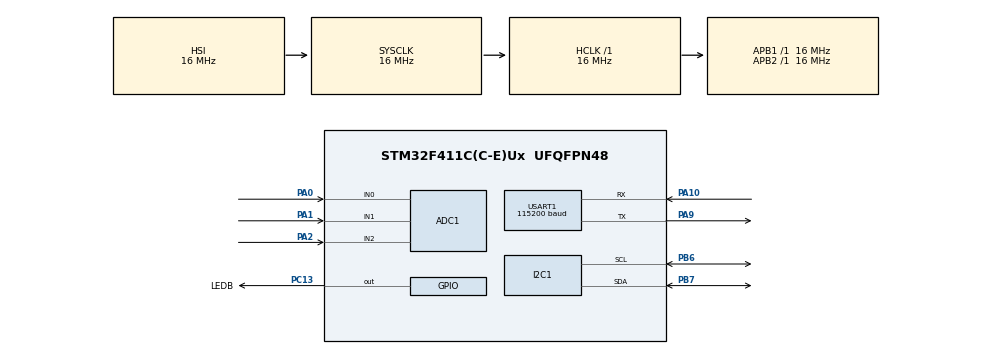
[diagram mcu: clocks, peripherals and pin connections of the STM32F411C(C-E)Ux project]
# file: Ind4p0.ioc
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ADC1.Channel-0\#ChannelRegularConversion=ADC_CHANNEL_0
ADC1.Channel-1\#ChannelRegularConversion=ADC_CHANNEL_1
ADC1.Channel-2\#ChannelRegularConversion=ADC_CHANNEL_2
ADC1.ContinuousConvMode=ENABLE
ADC1.DMAContinuousRequests=ENABLE
ADC1.EOCSelection=ADC_EOC_SINGLE_CONV
ADC1.NbrOfConversion=3
ADC1.NbrOfConversionFlag=1
ADC1.Rank-0\#ChannelRegularConversion=1
ADC1.Rank-1\#ChannelRegularConversion=2
ADC1.Rank-2\#ChannelRegularConversion=3
ADC1.SamplingTime-0\#ChannelRegularConversion=ADC_SAMPLETIME_3CYCLES
ADC1.SamplingTime-1\#ChannelRegularConversion=ADC_SAMPLETIME_3CYCLES
ADC1.SamplingTime-2\#ChannelRegularConversion=ADC_SAMPLETIME_3CYCLES
ADC1.ScanConvMode=ENABLE
ADC1.master=1
Dma.ADC1.0.Direction=DMA_PERIPH_TO_MEMORY
Dma.ADC1.0.FIFOMode=DMA_FIFOMODE_DISABLE
Dma.ADC1.0.Instance=DMA2_Stream0
Dma.ADC1.0.MemDataAlignment=DMA_MDATAALIGN_WORD
Dma.ADC1.0.MemInc=DMA_MINC_ENABLE
Dma.ADC1.0.Mode=DMA_CIRCULAR
Dma.ADC1.0.PeriphDataAlignment=DMA_PDATAALIGN_WORD
Dma.ADC1.0.PeriphInc=DMA_PINC_DISABLE
Dma.ADC1.0.Priority=DMA_PRIORITY_LOW
Dma.Request0=ADC1
Mcu.Family=STM32F4
Mcu.Name=STM32F411C(C-E)Ux
Mcu.Package=UFQFPN48
NVIC.DMA2_Stream0_IRQn=true\:1\:0\:true\:false\:true\:false\:true\:true
NVIC.PriorityGroup=NVIC_PRIORITYGROUP_4
NVIC.TIM1_UP_TIM10_IRQn=true\:1\:0\:true\:false\:true\:true\:true\:true
NVIC.USART1_IRQn=true\:0\:0\:true\:false\:true\:true\:true\:true
PA0-WKUP.Signal=ADCx_IN0
PA1.Signal=ADCx_IN1
PA10.Mode=Asynchronous
PA10.Signal=USART1_RX
PA13.Mode=Serial_Wire
PA13.Signal=SYS_JTMS-SWDIO
PA14.Mode=Serial_Wire
PA14.Signal=SYS_JTCK-SWCLK
PA2.Signal=ADCx_IN2
PA9.Mode=Asynchronous
PA9.Signal=USART1_TX
PB6.Mode=I2C
PB6.Signal=I2C1_SCL
PB7.Mode=I2C
PB7.Signal=I2C1_SDA
PC13-ANTI_TAMP.GPIO_Label=LEDB
PC13-ANTI_TAMP.Signal=GPIO_Output
PC14-OSC32_IN.Mode=LSE-External-Oscillator
PC14-OSC32_IN.Signal=RCC_OSC32_IN
PC15-OSC32_OUT.Mode=LSE-External-Oscillator
PC15-OSC32_OUT.Signal=RCC_OSC32_OUT
PH0\ -\ OSC_IN.Mode=HSE-External-Oscillator
PH0\ -\ OSC_IN.Signal=RCC_OSC_IN
PH1\ -\ OSC_OUT.Mode=HSE-External-Oscillator
PH1\ -\ OSC_OUT.Signal=RCC_OSC_OUT
ProjectManager.HeapSize=0x200
ProjectManager.StackSize=0x400
ProjectManager.TargetToolchain=STM32CubeIDE
RCC.AHBFreq_Value=16000000
RCC.APB1Freq_Value=16000000
RCC.APB2Freq_Value=16000000
RCC.CortexFreq_Value=16000000
RCC.HSE_VALUE=25000000
RCC.HSI_VALUE=16000000
RCC.SYSCLKFreq_VALUE=16000000
RCC.VCOOutputFreq_Value=192000000
SH.ADCx_IN0.0=ADC1_IN0,IN0
SH.ADCx_IN1.0=ADC1_IN1,IN1
SH.ADCx_IN2.0=ADC1_IN2,IN2
USART1.BaudRate=115200
USART1.VirtualMode=VM_ASYNC
VP_TIM10_VS_ClockSourceINT.Mode=Enable_Timer
board=custom

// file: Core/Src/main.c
/* USER CODE BEGIN Header */
/**
 ******************************************************************************
 * @file           : main.c
 * @brief          : Main program body
 ******************************************************************************
 * @attention
 *
 * Copyright (c) 2024 STMicroelectronics.
 * All rights reserved.
 *
 * This software is licensed under terms that can be found in the LICENSE file
 * in the root directory of this software component.
 * If no LICENSE file comes with this software, it is provided AS-IS.
 *
 ******************************************************************************
 */
/* USER CODE END Header */
#include "main.h"

/* USER CODE BEGIN Includes */
#include "string.h"
#include "stdio.h"
#include "stdlib.h"
#include "math.h"
#include "arm_math.h"
#include "stdbool.h"
#include "protocollo.h"
/* USER CODE END Includes */

/* USER CODE BEGIN PTD */

char FW_VERSION[] = "1.1.0";

static bool crc_tab16_init = false;
static uint16_t crc_tab16[256];
#define		CRC_START_16		0x0000
#define		CRC_POLY_16		0xA001

void send_config();
void receive_config(protocollo_uart pkt);
//void send_bump_alarm(uint8_t output_X,uint8_t output_Y,uint8_t output_Z);
void send_bump_alarm();
void send_hidden_bump_alarm();
void send_shakes_count(uint16_t shakesCount,uint16_t XshakesCount,uint16_t YshakesCount,uint16_t ZshakesCount);
void send_raw_data();
void send_fw_version();
//void send_alarm_disabled();
void send_ack();
void send_nack();
uint16_t crc_16( const unsigned char *input_str, size_t num_bytes );

void send_fft_sample();
void send_sample();
void build_send_packet(uart_command cmd);
/* USER CODE END PTD */

ADC_HandleTypeDef hadc1;
DMA_HandleTypeDef hdma_adc1;

I2C_HandleTypeDef hi2c1;

TIM_HandleTypeDef htim10;

UART_HandleTypeDef huart1;

/* USER CODE BEGIN PV */
#ifdef __GNUC__
#define PUTCHAR_PROTOTYPE int __io_putchar(int ch)
#else
#define PUTCHAR_PROTOTYPE int fputc(int ch, FILE *f)
#endif

PUTCHAR_PROTOTYPE
{
	HAL_UART_Transmit(&huart1, (uint8_t *)&ch, 1, HAL_MAX_DELAY);
	return ch;
}
/* USER CODE END PV */

void SystemClock_Config(void);
static void MX_GPIO_Init(void);
static void MX_DMA_Init(void);
static void MX_ADC1_Init(void);
static void MX_I2C1_Init(void);
static void MX_USART1_UART_Init(void);
static void MX_TIM10_Init(void);

/* USER CODE BEGIN 0 */
HAL_StatusTypeDef ADC_Status;

/***********************************************
 * buffer dei parametri di configurazione
 **********************************************/
uint16_t sensor_configuration[7]={0};
/**********************************************/

/**************************************************
 * Soglie, shake count e sampling time di default
 **************************************************/
uint16_t bumpsThreshold = 200;
uint16_t shakesThreshold = 10;
uint16_t shakesSamplingTime = 2; // espresso in secondi
uint16_t shakesCount = 0;
uint16_t hiddenBumpsThreshold = 500;
/**************************************************/

/******************************************
 * Contatori di vibrazioni lungo gli assi
 ******************************************/
uint8_t xShakesCount = 0;
uint8_t yShakesCount = 0;
uint8_t zShakesCount = 0;
/******************************************/

/******************************************
 * Raw Data
 ******************************************/
float32_t output_X=0;
float32_t output_Y=0;
float32_t output_Z=0;

float32_t output_X_bump=0;
float32_t output_Y_bump=0;
float32_t output_Z_bump=0;
/******************************************/

/******************************************
 * Flag dei bump
 ******************************************/
bool BumpFlag=false;
bool HiddenBumpFlag=false;
/******************************************/

/******************************************
 * Valori medi per gli assi X, Y e Z
 * usati nel calcolo delle vibrazioni
 ******************************************/
float32_t avgOutput_X = 0;
float32_t avgOutput_Y = 0;
float32_t avgOutput_Z = 0;

float32_t avgOutput_X_last = 0;
float32_t avgOutput_Y_last = 0;
float32_t avgOutput_Z_last = 0;

float32_t output_X_last=0;
float32_t output_Y_last=0;
float32_t output_Z_last=0;

float32_t DeltaOutput_X=0;
float32_t DeltaOutput_Y=0;
float32_t DeltaOutput_Z=0;
/******************************************/

/******************************************
 * UART verso PC
 ******************************************/
#define MAX_BUFFER_LENGHT 256
uint8_t UART1_rx;
uint8_t UART1_rxBuffer[MAX_BUFFER_LENGHT];
uint8_t UART1_txBuffer[MAX_BUFFER_LENGHT];
uint8_t rxbuffer_index = 0;

/******************************************/

uint32_t value[3];
//*****************************FIR ***************************//

#define SNR_THRESHOLD_F32    140.0f
#define BLOCK_SIZE            32
#define NUM_TAPS              96

arm_fir_instance_f32 S_FIR;
float32_t testInput_f32_1kHz_15kHz[SAMPLES];
//static float32_t firStateF32[SAMPLES + NUM_TAPS - 1];

const float32_t firCoeffs32[NUM_TAPS] = {
		-0.0045644380812448395,
		-0.0004239214773665623,
		-0.0003992160094902055,
		-0.0003410784893278679,
		-0.000246559170922285,
		-0.00011254431170462079,
		0.00006433750801042219,
		0.0002870933492719705,
		0.0005587009072068039,
		0.0008818359747837215,
		0.0012587683624311436,
		0.0016910582068537408,
		0.0021856908690502577,
		0.002726710900242062,
		0.0033400842043236102,
		0.0040111517348650795,
		0.004739077342511737,
		0.005524253099514465,
		0.0063660475475944564,
		0.007263122811066336,
		0.008212361291143213,
		0.009210018111155885,
		0.010251426837018239,
		0.011331469979433535,
		0.01244362364387908,
		0.013584873647048157,
		0.01474370531018102,
		0.015917964027590856,
		0.01709913746351596,
		0.01827867257835206,
		0.01944880098525925,
		0.020601194890077695,
		0.02172846305781673,
		0.022822065011098805,
		0.0238738289199096,
		0.02487547673817073,
		0.025819341620558257,
		0.026697029918866366,
		0.02750356254696736,
		0.028230666791627817,
		0.028873750993741547,
		0.029427571925871056,
		0.02988701980332222,
		0.030248790890860813,
		0.030508789150617766,
		0.030665772386255268,
		0.03071819701905401,
		0.030665772386255268,
		0.030508789150617766,
		0.030248790890860813,
		0.02988701980332222,
		0.029427571925871056,
		0.028873750993741547,
		0.028230666791627817,
		0.02750356254696736,
		0.026697029918866366,
		0.025819341620558257,
		0.02487547673817073,
		0.0238738289199096,
		0.022822065011098805,
		0.02172846305781673,
		0.020601194890077695,
		0.01944880098525925,
		0.01827867257835206,
		0.01709913746351596,
		0.015917964027590856,
		0.01474370531018102,
		0.013584873647048157,
		0.01244362364387908,
		0.011331469979433535,
		0.010251426837018239,
		0.009210018111155885,
		0.008212361291143213,
		0.007263122811066336,
		0.0063660475475944564,
		0.005524253099514465,
		0.004739077342511737,
		0.0040111517348650795,
		0.0033400842043236102,
		0.002726710900242062,
		0.0021856908690502577,
		0.0016910582068537408,
		0.0012587683624311436,
		0.0008818359747837215,
		0.0005587009072068039,
		0.0002870933492719705,
		0.00006433750801042219,
		-0.00011254431170462079,
		-0.000246559170922285,
		-0.0003410784893278679,
		-0.0003992160094902055,
		-0.0004239214773665623,
		-0.0045644380812448395

};

#define NUM_TAPS_HP              87
static float32_t firStateF32_HP[SAMPLES + NUM_TAPS_HP - 1];
const float32_t firCoeffs32_high_pass[NUM_TAPS_HP] = {
		0.00015046336434925082,
		-0.0003132108493542814,
		0.0005455831397464856,
		-0.0007655671960985814,
		0.0008479244457581014,
		-0.0006137937161025474,
		-0.00014459031918041517,
		0.001618510067585061,
		-0.003921817181404502,
		0.007026723577160095,
		-0.010714381679213151,
		0.014558817550571496,
		-0.017959185429479742,
		0.020226493978637464,
		-0.020716950964363334,
		0.018989175888080526,
		-0.014951023072293205,
		0.008956333659119901,
		-0.001815853588989312,
		-0.005298400010386114,
		0.01105255933477362,
		-0.014224672422497756,
		0.013999200142186967,
		-0.010213709039717932,
		0.003489753102984941,
		0.00480206065485691,
		-0.012759954435784393,
		0.018327027547382888,
		-0.019758735816211095,
		0.01608405227976113,
		-0.007451684217961991,
		-0.004733394280315384,
		0.01793991374342082,
		-0.02890817129034569,
		0.03425596442522116,
		-0.031179921743829084,
		0.018108140425716915,
		0.004840797750476119,
		-0.03570524556862057,
		0.07088775590886412,
		-0.10570111679267988,
		0.13515850329937282,
		-0.15485721750818826,
		0.1617808126828929,
		-0.15485721750818826,
		0.13515850329937282,
		-0.10570111679267988,
		0.07088775590886412,
		-0.03570524556862057,
		0.004840797750476119,
		0.018108140425716915,
		-0.031179921743829084,
		0.03425596442522116,
		-0.02890817129034569,
		0.01793991374342082,
		-0.004733394280315384,
		-0.007451684217961991,
		0.01608405227976113,
		-0.019758735816211095,
		0.018327027547382888,
		-0.012759954435784393,
		0.00480206065485691,
		0.003489753102984941,
		-0.010213709039717932,
		0.013999200142186967,
		-0.014224672422497756,
		0.01105255933477362,
		-0.005298400010386114,
		-0.001815853588989312,
		0.008956333659119901,
		-0.014951023072293205,
		0.018989175888080526,
		-0.020716950964363334,
		0.020226493978637464,
		-0.017959185429479742,
		0.014558817550571496,
		-0.010714381679213151,
		0.007026723577160095,
		-0.003921817181404502,
		0.001618510067585061,
		-0.00014459031918041517,
		-0.0006137937161025474,
		0.0008479244457581014,
		-0.0007655671960985814,
		0.0005455831397464856,
		-0.0003132108493542814,
		0.00015046336434925082

};

//*****************************FFT ***************************//

arm_cfft_radix4_instance_f32 S;	/* ARM CFFT module */
float32_t maxValue;				/* Max FFT value is stored here */
uint32_t maxIndex;				/* Index in Output array where max value is */
int current_index_aqsample = 0;
float32_t Input_X[SAMPLES];
float32_t Input_Y[SAMPLES];
float32_t Input_Z[SAMPLES];
//float32_t fftOutput[FFT_SIZE];

//***************************************************************//

uint16_t ADC_RES = 0;
HAL_StatusTypeDef err_tx;

typedef struct adc_channel_struct
{
	uint32_t current_index;
	uint16_t ADC_X;
	uint16_t ADC_Y;
	uint16_t ADC_Z;
}adc_channel_struct;

adc_channel_struct adc_channel_instance =
{
		.current_index = 0,
		.ADC_X = 0,
		.ADC_Y = 0,
		.ADC_Z = 0,
};

void select_adc_channel(int channel)
{
	ADC_ChannelConfTypeDef sConfig = {0};
	sConfig.SamplingTime = ADC_SAMPLETIME_3CYCLES;
	switch (channel)
	{
	case 0:
		sConfig.Channel = ADC_CHANNEL_0;
		sConfig.Rank = 1;

		if (HAL_ADC_ConfigChannel(&hadc1, &sConfig) != HAL_OK)
		{
			Error_Handler();
		}
		break;

	case 1:
		sConfig.Channel = ADC_CHANNEL_1;
		sConfig.Rank = 1;

		if (HAL_ADC_ConfigChannel(&hadc1, &sConfig) != HAL_OK)
		{
			Error_Handler();
		}
		break;

	case 2:
		/** Configure for the selected ADC regular channel its corresponding rank in the sequencer and its sample time.
		 */
		sConfig.Channel = ADC_CHANNEL_2;
		sConfig.Rank = 1;
		if (HAL_ADC_ConfigChannel(&hadc1, &sConfig) != HAL_OK)
		{
			Error_Handler();
		}
		break;
		/** Configure for the selected ADC regular channel its corresponding rank in the sequencer and its sample time.
		 */
	case 3:
		sConfig.Channel = ADC_CHANNEL_3;
		sConfig.Rank = 1;
		if (HAL_ADC_ConfigChannel(&hadc1, &sConfig) != HAL_OK)
		{
			Error_Handler();
		}
		break;
		/** Configure for the selected ADC regular channel its corresponding rank in the sequencer and its sample time.
		 */
	case 4:
		sConfig.Channel = ADC_CHANNEL_4;
		sConfig.Rank = 1;
		if (HAL_ADC_ConfigChannel(&hadc1, &sConfig) != HAL_OK)
		{
			Error_Handler();
		}
		break;
		/** Configure for the selected ADC regular channel its corresponding rank in the sequencer and its sample time.
		 */
	case 5:
		sConfig.Channel = ADC_CHANNEL_5;
		sConfig.Rank = 1;
		if (HAL_ADC_ConfigChannel(&hadc1, &sConfig) != HAL_OK)
		{
			Error_Handler();
		}
		break;
		/** Configure for the selected ADC regular channel its corresponding rank in the sequencer and its sample time.
		 */
	case 6:
		sConfig.Channel = ADC_CHANNEL_6;
		sConfig.Rank = 1;
		if (HAL_ADC_ConfigChannel(&hadc1, &sConfig) != HAL_OK)
		{
			Error_Handler();
		}
		break;
		/** Configure for the selected ADC regular channel its corresponding rank in the sequencer and its sample time.
		 */
	case 7:
		sConfig.Channel = ADC_CHANNEL_7;
		sConfig.Rank = 1;
		if (HAL_ADC_ConfigChannel(&hadc1, &sConfig) != HAL_OK)
		{
			Error_Handler();
		}
		break;
		/** Configure for the selected ADC regular channel its corresponding rank in the sequencer and its sample time.
		 */
	case 8:
		sConfig.Channel = ADC_CHANNEL_8;
		sConfig.Rank = 1;
		if (HAL_ADC_ConfigChannel(&hadc1, &sConfig) != HAL_OK)
		{
			Error_Handler();
		}
		break;
		/** Configure for the selected ADC regular channel its corresponding rank in the sequencer and its sample time.
		 */
	case 9:
		sConfig.Channel = ADC_CHANNEL_9;
		sConfig.Rank = 9;
		if (HAL_ADC_ConfigChannel(&hadc1, &sConfig) != HAL_OK)
		{
			Error_Handler();
		}
		break;
		/** Configure for the selected ADC regular channel its corresponding rank in the sequencer and its sample time.
		 */
	case 10:
		sConfig.Channel = ADC_CHANNEL_10;
		sConfig.Rank = 1;
		if (HAL_ADC_ConfigChannel(&hadc1, &sConfig) != HAL_OK)
		{
			Error_Handler();
		}
		break;
		/** Configure for the selected ADC regular channel its corresponding rank in the sequencer and its sample time.
		 */
	case 11:
		sConfig.Channel = ADC_CHANNEL_11;
		sConfig.Rank = 1;
		if (HAL_ADC_ConfigChannel(&hadc1, &sConfig) != HAL_OK)
		{
			Error_Handler();
		}
		break;
		/** Configure for the selected ADC regular channel its corresponding rank in the sequencer and its sample time.
		 */
	case 12:
		sConfig.Channel = ADC_CHANNEL_12;
		sConfig.Rank = 1;
		if (HAL_ADC_ConfigChannel(&hadc1, &sConfig) != HAL_OK)
		{
			Error_Handler();
		}
		break;
		/** Configure for the selected ADC regular channel its corresponding rank in the sequencer and its sample time.
		 */
	case 13:
		sConfig.Channel = ADC_CHANNEL_13;
		sConfig.Rank = 1;
		if (HAL_ADC_ConfigChannel(&hadc1, &sConfig) != HAL_OK)
		{
			Error_Handler();
		}
		break;
		/** Configure for the selected ADC regular channel its corresponding rank in the sequencer and its sample time.
		 */
	case 14:
		sConfig.Channel = ADC_CHANNEL_14;
		sConfig.Rank = 1;
		if (HAL_ADC_ConfigChannel(&hadc1, &sConfig) != HAL_OK)
		{
			Error_Handler();
		}
		break;
		/** Configure for the selected ADC regular channel its corresponding rank in the sequencer and its sample time.
		 */
	case 15:
		sConfig.Channel = ADC_CHANNEL_15;
		sConfig.Rank = 1;
		if (HAL_ADC_ConfigChannel(&hadc1, &sConfig) != HAL_OK)
		{
			Error_Handler();
		}
		break;

	default:
		break;
	}
}
/* USER CODE END 0 */

int main(void)
{

	/* MCU Configuration--------------------------------------------------------*/

	/* Reset of all peripherals, Initializes the Flash interface and the Systick. */
	HAL_Init();

	/* Configure the system clock */
	SystemClock_Config();

	/* Initialize all configured peripherals */
	MX_GPIO_Init();
	MX_DMA_Init();
	MX_ADC1_Init();
	MX_I2C1_Init();
	MX_USART1_UART_Init();
	MX_TIM10_Init();
	/* USER CODE BEGIN 2 */
	//	arm_fir_init_f32(&S_FIR, NUM_TAPS, (float32_t *)&firCoeffs32[0], &firStateF32[0], SAMPLES);
	arm_fir_init_f32(&S_FIR, NUM_TAPS_HP, (float32_t *)&firCoeffs32_high_pass[0], &firStateF32_HP[0], SAMPLES);

	/********************************************
	 * attiva l'UART in interrupt mode
	 ********************************************/
	HAL_UART_Receive_IT(&huart1,&UART1_rx, 1);

	//************************************************************************************************//
	HAL_TIM_Base_Start_IT(&htim10);
	__HAL_TIM_SET_PRESCALER(&htim10, 1);
	//
	//	/********************************************/
	//	//printf("HELLO WORLD\r\n");
	//
	//	/*******************************************************
	//	 *Calibrate The ADC On Power-Up For Better Accuracy
	//	 *******************************************************/
	//	//HAL_ADCEx_Calibration_Start(&hadc1);
	//	/*******************************************************/
	//
	//
	HAL_ADC_Start_DMA(&hadc1, (uint32_t*)value, 3);

	//*****************************************************************************************************//

	//	char tt[] = "HELLO";
	/* USER CODE END 2 */

	/* Infinite loop */
	/* USER CODE BEGIN WHILE */
	while (1)
	{

		//		HAL_UART_Transmit(&huart1, tt, sizeof(tt), 100);

		HAL_Delay(1000);
		/* USER CODE END WHILE */

	}
}

void SystemClock_Config(void)
{
	RCC_OscInitTypeDef RCC_OscInitStruct = {0};
	RCC_ClkInitTypeDef RCC_ClkInitStruct = {0};

	/** Configure the main internal regulator output voltage
	 */
	__HAL_RCC_PWR_CLK_ENABLE();
	__HAL_PWR_VOLTAGESCALING_CONFIG(PWR_REGULATOR_VOLTAGE_SCALE1);

	/** Initializes the RCC Oscillators according to the specified parameters
	 * in the RCC_OscInitTypeDef structure.
	 */
	RCC_OscInitStruct.OscillatorType = RCC_OSCILLATORTYPE_HSI;
	RCC_OscInitStruct.HSIState = RCC_HSI_ON;
	RCC_OscInitStruct.HSICalibrationValue = RCC_HSICALIBRATION_DEFAULT;
	RCC_OscInitStruct.PLL.PLLState = RCC_PLL_NONE;
	if (HAL_RCC_OscConfig(&RCC_OscInitStruct) != HAL_OK)
	{
		Error_Handler();
	}

	/** Initializes the CPU, AHB and APB buses clocks
	 */
	RCC_ClkInitStruct.ClockType = RCC_CLOCKTYPE_HCLK|RCC_CLOCKTYPE_SYSCLK
			|RCC_CLOCKTYPE_PCLK1|RCC_CLOCKTYPE_PCLK2;
	RCC_ClkInitStruct.SYSCLKSource = RCC_SYSCLKSOURCE_HSI;
	RCC_ClkInitStruct.AHBCLKDivider = RCC_SYSCLK_DIV1;
	RCC_ClkInitStruct.APB1CLKDivider = RCC_HCLK_DIV1;
	RCC_ClkInitStruct.APB2CLKDivider = RCC_HCLK_DIV1;

	if (HAL_RCC_ClockConfig(&RCC_ClkInitStruct, FLASH_LATENCY_0) != HAL_OK)
	{
		Error_Handler();
	}
}

static void MX_ADC1_Init(void)
{

	ADC_ChannelConfTypeDef sConfig = {0};

	/** Configure the global features of the ADC (Clock, Resolution, Data Alignment and number of conversion)
	 */
	hadc1.Instance = ADC1;
	hadc1.Init.ClockPrescaler = ADC_CLOCK_SYNC_PCLK_DIV2;
	hadc1.Init.Resolution = ADC_RESOLUTION_12B;
	hadc1.Init.ScanConvMode = ENABLE;
	hadc1.Init.ContinuousConvMode = ENABLE;
	hadc1.Init.DiscontinuousConvMode = DISABLE;
	hadc1.Init.ExternalTrigConvEdge = ADC_EXTERNALTRIGCONVEDGE_NONE;
	hadc1.Init.ExternalTrigConv = ADC_SOFTWARE_START;
	hadc1.Init.DataAlign = ADC_DATAALIGN_RIGHT;
	hadc1.Init.NbrOfConversion = 3;
	hadc1.Init.DMAContinuousRequests = ENABLE;
	hadc1.Init.EOCSelection = ADC_EOC_SINGLE_CONV;
	if (HAL_ADC_Init(&hadc1) != HAL_OK)
	{
		Error_Handler();
	}

	/** Configure for the selected ADC regular channel its corresponding rank in the sequencer and its sample time.
	 */
	sConfig.Channel = ADC_CHANNEL_0;
	sConfig.Rank = 1;
	sConfig.SamplingTime = ADC_SAMPLETIME_3CYCLES;
	if (HAL_ADC_ConfigChannel(&hadc1, &sConfig) != HAL_OK)
	{
		Error_Handler();
	}

	/** Configure for the selected ADC regular channel its corresponding rank in the sequencer and its sample time.
	 */
	sConfig.Channel = ADC_CHANNEL_1;
	sConfig.Rank = 2;
	if (HAL_ADC_ConfigChannel(&hadc1, &sConfig) != HAL_OK)
	{
		Error_Handler();
	}

	/** Configure for the selected ADC regular channel its corresponding rank in the sequencer and its sample time.
	 */
	sConfig.Channel = ADC_CHANNEL_2;
	sConfig.Rank = 3;
	if (HAL_ADC_ConfigChannel(&hadc1, &sConfig) != HAL_OK)
	{
		Error_Handler();
	}

}

static void MX_I2C1_Init(void)
{

	hi2c1.Instance = I2C1;
	hi2c1.Init.ClockSpeed = 100000;
	hi2c1.Init.DutyCycle = I2C_DUTYCYCLE_2;
	hi2c1.Init.OwnAddress1 = 0;
	hi2c1.Init.AddressingMode = I2C_ADDRESSINGMODE_7BIT;
	hi2c1.Init.DualAddressMode = I2C_DUALADDRESS_DISABLE;
	hi2c1.Init.OwnAddress2 = 0;
	hi2c1.Init.GeneralCallMode = I2C_GENERALCALL_DISABLE;
	hi2c1.Init.NoStretchMode = I2C_NOSTRETCH_DISABLE;
	if (HAL_I2C_Init(&hi2c1) != HAL_OK)
	{
		Error_Handler();
	}

}

static void MX_TIM10_Init(void)
{

	htim10.Instance = TIM10;
	htim10.Init.Prescaler = 0;
	htim10.Init.CounterMode = TIM_COUNTERMODE_UP;
	htim10.Init.Period = 65535;
	htim10.Init.ClockDivision = TIM_CLOCKDIVISION_DIV1;
	htim10.Init.AutoReloadPreload = TIM_AUTORELOAD_PRELOAD_DISABLE;
	if (HAL_TIM_Base_Init(&htim10) != HAL_OK)
	{
		Error_Handler();
	}

}

static void MX_USART1_UART_Init(void)
{

	huart1.Instance = USART1;
	huart1.Init.BaudRate = 115200;
	huart1.Init.WordLength = UART_WORDLENGTH_8B;
	huart1.Init.StopBits = UART_STOPBITS_1;
	huart1.Init.Parity = UART_PARITY_NONE;
	huart1.Init.Mode = UART_MODE_TX_RX;
	huart1.Init.HwFlowCtl = UART_HWCONTROL_NONE;
	huart1.Init.OverSampling = UART_OVERSAMPLING_16;
	if (HAL_UART_Init(&huart1) != HAL_OK)
	{
		Error_Handler();
	}

}

static void MX_DMA_Init(void)
{

	/* DMA controller clock enable */
	__HAL_RCC_DMA2_CLK_ENABLE();

	/* DMA interrupt init */
	/* DMA2_Stream0_IRQn interrupt configuration */
	HAL_NVIC_SetPriority(DMA2_Stream0_IRQn, 1, 0);
	HAL_NVIC_EnableIRQ(DMA2_Stream0_IRQn);

}

static void MX_GPIO_Init(void)
{
	GPIO_InitTypeDef GPIO_InitStruct = {0};

	/* GPIO Ports Clock Enable */
	__HAL_RCC_GPIOC_CLK_ENABLE();
	__HAL_RCC_GPIOH_CLK_ENABLE();
	__HAL_RCC_GPIOA_CLK_ENABLE();
	__HAL_RCC_GPIOB_CLK_ENABLE();

	/*Configure GPIO pin Output Level */
	HAL_GPIO_WritePin(LEDB_GPIO_Port, LEDB_Pin, GPIO_PIN_RESET);

	/*Configure GPIO pin : LEDB_Pin */
	GPIO_InitStruct.Pin = LEDB_Pin;
	GPIO_InitStruct.Mode = GPIO_MODE_OUTPUT_PP;
	GPIO_InitStruct.Pull = GPIO_NOPULL;
	GPIO_InitStruct.Speed = GPIO_SPEED_FREQ_LOW;
	HAL_GPIO_Init(LEDB_GPIO_Port, &GPIO_InitStruct);

}

/* USER CODE BEGIN 4 */

// Called when first half of buffer is filled
void HAL_ADC_ConvHalfCpltCallback(ADC_HandleTypeDef* hadc) {

}

// Called when buffer is completely filled
void HAL_ADC_ConvCpltCallback(ADC_HandleTypeDef* hadc) {

	adc_channel_instance.ADC_X = value[0];
	adc_channel_instance.ADC_Y = value[1];
	adc_channel_instance.ADC_Z = value[2];

	Input_X[current_index_aqsample] = adc_channel_instance.ADC_X;
	Input_Y[current_index_aqsample] = adc_channel_instance.ADC_Y;
	Input_Z[current_index_aqsample] = adc_channel_instance.ADC_Z;

	/**************************************************************************************************************************************
	 * ELABORAZIONE
	 **************************************************************************************************************************************/
	arm_fir_f32(&S_FIR,&Input_X[current_index_aqsample], &output_X, 1);
	arm_fir_f32(&S_FIR,&Input_Y[current_index_aqsample], &output_Y, 1);
	arm_fir_f32(&S_FIR,&Input_Z[current_index_aqsample], &output_Z, 1);

	output_X  = output_X * 10;
	output_Y  = output_Y * 10;
	output_Z  = output_Z * 10;

	if(output_X < 0)
		output_X = output_X * -1;
	if(output_Y < 0)
		output_Y = output_Y * -1;
	if(output_Z < 0)
		output_Z = output_Z * -1;

	//	output_X = abs(output_X);
	//	output_Y = abs(output_Y);
	//	output_Z = abs(output_Z);

	/*******************************************************/
	//	DeltaOutput_X=(output_X-output_X_last);
	//	DeltaOutput_X=(output_Y-output_Y_last);
	//	DeltaOutput_X=(output_Z-output_Z_last);
	//	if(DeltaOutput_X < 0)
	//		DeltaOutput_X = DeltaOutput_X * -1;
	//	if(DeltaOutput_Y < 0)
	//		DeltaOutput_Y = DeltaOutput_Y * -1;
	//	if(DeltaOutput_Z < 0)
	//		DeltaOutput_Z = DeltaOutput_Z * -1;
	//
	//	output_X_last=output_X;
	//	output_Y_last=output_Y;
	//	output_Z_last=output_Z;
	//
	//	int deltaValue = 10;
	//	int mulFactor = 10;
	//	if(DeltaOutput_X<deltaValue)
	//		output_X = 0; //output_X * mulFactor;
	//	if(DeltaOutput_Y<deltaValue)
	//			output_Y = 0; //output_Y * mulFactor;
	//	if(DeltaOutput_X<deltaValue)
	//			output_Z = 0; //output_Z * mulFactor;
	//
	//	if(output_X < 0)
	//		output_X = output_X * -1;
	//	if(output_Y < 0)
	//		output_Y = output_Y * -1;
	//	if(output_Z < 0)
	//		output_Z = output_Z * -1;
	/*******************************************************/

	/*********************************************************************************************************
	 * Se uno dei tre segnali supera la soglia degli urti viene messo a true il flag del bump
	 *********************************************************************************************************/
	if(BumpFlag==false && ((output_X>bumpsThreshold)||(output_Y>bumpsThreshold)||(output_Z>bumpsThreshold)) ){
		//send_bump_alarm();
		output_X_bump = output_X;
		output_Y_bump = output_Y;
		output_Z_bump = output_Z;
		BumpFlag=true;
	}
	/************************************************************************************************/

	/*********************************************************************************************************
	 * Se uno dei tre segnali supera la soglia nascosta degli urti viene messo a true il flag dell'hidden bump
	 *********************************************************************************************************/
	if(HiddenBumpFlag==false &&((output_X>hiddenBumpsThreshold)||(output_Y>hiddenBumpsThreshold)||(output_Z>hiddenBumpsThreshold)) ){
		//send_hidden_bump_alarm();
		output_X_bump = output_X;
		output_Y_bump = output_Y;
		output_Z_bump = output_Z;
		HiddenBumpFlag=true;
	}
	/*********************************************************************************************************/

	/******************************************************
	 * Se output_X supera la soglia delle vibrazioni
	 * incrementa il contatore di vibrazioni xShakesCount
	 ******************************************************/
	if(output_X>shakesThreshold){
		xShakesCount++;
	}
	/******************************************************/
	/******************************************************
	 * Se output_Y supera la soglia delle vibrazioni
	 * incrementa il contatore di vibrazioni yShakesCount
	 ******************************************************/
	if(output_Y>shakesThreshold){
		yShakesCount++;
	}
	/******************************************************/
	/******************************************************
	 * Se output_Z supera la soglia delle vibrazioni
	 * incrementa il contatore di vibrazioni zShakesCount
	 ******************************************************/
	if(output_Z>shakesThreshold){
		zShakesCount++;
	}
	/******************************************************/

	/**************************************************************************************************************************************/

	current_index_aqsample = (current_index_aqsample + 1) % SAMPLES;

	HAL_GPIO_TogglePin(LEDB_GPIO_Port, LEDB_Pin);

}

void HAL_TIM_PeriodElapsedCallback(TIM_HandleTypeDef *htim)
{
	/* USER CODE BEGIN Callback 0 */
	if (htim->Instance == TIM10) {

		/****************************************************************************************************************
		 * printf per SERIAL PLOT
		 ****************************************************************************************************************/
		//printf("%f %f %f\r\n",output_X,output_Y,output_Z);
		//		printf("%f %f %f %f %f %f\r\n",Input_X[current_index_aqsample],Input_Y[current_index_aqsample],Input_Z[current_index_aqsample],output_X,output_Y,output_Z);
		/****************************************************************************************************************/
		//printf("%d %d %d\r\n",adc_channel_instance.ADC_X,adc_channel_instance.ADC_Y,adc_channel_instance.ADC_Z);
		///////////////////////////////////////////////////////////////////////////////////////////////////////////////////////////////////////////////////////////////////////
		//if((output_X>bumpsThreshold)||(output_Y>bumpsThreshold)||(output_Z>bumpsThreshold)){
		if(BumpFlag==true){
			//send_bump_alarm((uint8_t)output_X, (uint8_t)output_Y, (uint8_t)output_Z);
			send_bump_alarm();
			BumpFlag=false;
		}
		/************************************************************************************************/

		/*********************************************************************************************************
		 * Se uno dei tre segnali supera la soglia nascosta degli urti viene trasmesso al SW l'allarme di urto
		 *********************************************************************************************************/
		//if((output_X>hiddenBumpsThreshold)||(output_Y>hiddenBumpsThreshold)||(output_Z>hiddenBumpsThreshold)){
		if(HiddenBumpFlag==true){
			send_hidden_bump_alarm();
			HiddenBumpFlag=false;
		}
		/*********************************************************************************************************/

		//		/******************************************************
		//		 * Se output_X supera la soglia delle vibrazioni
		//		 * incrementa il contatore di vibrazioni xShakesCount
		//		 ******************************************************/
		//		if(output_X>shakesThreshold){
		//			xShakesCount++;
		//		}
		//		/******************************************************/
		//		/******************************************************
		//		 * Se output_Y supera la soglia delle vibrazioni
		//		 * incrementa il contatore di vibrazioni yShakesCount
		//		 ******************************************************/
		//		if(output_Y>shakesThreshold){
		//			yShakesCount++;
		//		}
		//		/******************************************************/
		//		/******************************************************
		//		 * Se output_Z supera la soglia delle vibrazioni
		//		 * incrementa il contatore di vibrazioni zShakesCount
		//		 ******************************************************/
		//		if(output_Z>shakesThreshold){
		//			zShakesCount++;
		//		}
		//		/******************************************************/
		////////////////////////////////////////////////////////////////////////////////////////////////////////////////////////////////////////////////////////////////////

		//		avgOutput_X_last = avgOutput_X;
		//		avgOutput_Y_last = avgOutput_Y;
		//		avgOutput_Z_last = avgOutput_Z;
		//
		//		/**************************************
		//		 * Calcolo valori medi su X, Y e Z
		//		 **************************************/
		//		avgOutput_X = avgOutput_X + output_X - avgOutput_X_last;
		//		avgOutput_Y = avgOutput_Y + output_Y - avgOutput_Y_last;
		//		avgOutput_Z = avgOutput_Z + output_Z - avgOutput_Z_last;
		//
		//
		////		if(current_index_aqsample == 0){
		////			avgOutput_X = avgOutput_X/SAMPLES;
		////			avgOutput_Y = avgOutput_Y/SAMPLES;
		////			avgOutput_Z = avgOutput_Z/SAMPLES;
		////		}
		//		/****************************************/
		//
		//
		//		/*******************************************************
		//		 * Trasmette al SERIAL PLOTTER solo i tre segnali filtrati
		//		 *******************************************************/
		//		printf("%f %f %f %f %f %f %f %f %f\r\n",avgOutput_X,avgOutput_Y,avgOutput_Z,Input_X[current_index_aqsample],Input_Y[current_index_aqsample],Input_Z[current_index_aqsample],output_X,output_Y,output_Z);
		//		/*******************************************************/
		//
		//
		//
		//		current_index_aqsample = (current_index_aqsample + 1) % SAMPLES;
		//

	}

	//
	//
	//		//*****************************************************//
	//
	//		select_adc_channel(0);
	//		HAL_ADC_Start(&hadc1);
	//		HAL_ADC_PollForConversion(&hadc1, HAL_MAX_DELAY);
	//		value[0] = HAL_ADC_GetValue(&hadc1);
	//
	//		select_adc_channel(1);
	//		HAL_ADC_Start(&hadc1);
	//		HAL_ADC_PollForConversion(&hadc1, HAL_MAX_DELAY);
	//		value[1] = HAL_ADC_GetValue(&hadc1);
	//
	//		select_adc_channel(2);
	//		HAL_ADC_Start(&hadc1);
	//		HAL_ADC_PollForConversion(&hadc1, HAL_MAX_DELAY);
	//		value[2] = HAL_ADC_GetValue(&hadc1);
	//		//            HAL_ADC_Stop(&hadc1);
	//
	//
	//
	//		/*******************************************************************************
	//		 * printf per SERIAL PLOT
	//		 *******************************************************************************/
	//		//printf("CH0 %d CH1 %d CH2 %d\r\n",value[0],value[1],value[2]);
	//		///printf("%f %f %f\r\n",(float)value[0],(float)value[1],(float)value[2]);
	//		/*******************************************************************************/
	//
	//		//************************************************************************************//
	//
	//		adc_channel_instance.ADC_X = value[0];
	//		adc_channel_instance.ADC_Y = value[1];
	//		adc_channel_instance.ADC_Z = value[2];
	//
	//		value[0] = 0;
	//		value[1] = 0;
	//		value[2] = 0;
	//
	//
	//		Input_X[current_index_aqsample] = adc_channel_instance.ADC_X;
	//		Input_Y[current_index_aqsample] = adc_channel_instance.ADC_Y;
	//		Input_Z[current_index_aqsample] = adc_channel_instance.ADC_Z;
	//
	//
	//		//HAL_GPIO_TogglePin(LED_GREEN_GPIO_Port, LED_GREEN_Pin);
	//
	//		//float32_t output_X;
	//		//float32_t output_Y;
	//		//float32_t output_Z;
	//
	//		//*******************************************************************************************************************************//
	//
	//		arm_fir_f32(&S_FIR,&Input_X[current_index_aqsample], &output_X, 1);
	//		arm_fir_f32(&S_FIR,&Input_Y[current_index_aqsample], &output_Y, 1);
	//		arm_fir_f32(&S_FIR,&Input_Z[current_index_aqsample], &output_Z, 1);
	//
	//		/****************************************************************************************************************
	//		 * printf per SERIAL PLOT
	//		 ****************************************************************************************************************/
	//		//printf("%f %f %f %f %f %f\r\n",(float)value[0],(float)value[1],(float)value[2], output_X,output_Y,output_Z);
	//		/****************************************************************************************************************/
	//
	//		/************************************************************************************************
	//		 * Se uno dei tre segnali supera la soglia degli urti viene trasmesso al SW l'allarme di urto
	//		 ************************************************************************************************/
	//		output_X = abs(output_X);
	//		output_Y = abs(output_Y);
	//		output_Z = abs(output_Z);
	//
	////		if((output_X>bumpsThreshold)||(output_Y>bumpsThreshold)||(output_Z>bumpsThreshold)){
	////			//			send_bump_alarm((uint8_t)output_X, (uint8_t)output_Y, (uint8_t)output_Z);
	////			send_bump_alarm();
	////		}
	////		/************************************************************************************************/
	////
	////		/*********************************************************************************************************
	////		 * Se uno dei tre segnali supera la soglia nascosta degli urti viene trasmesso al SW l'allarme di urto
	////		 *********************************************************************************************************/
	////		if((output_X>hiddenBumpsThreshold)||(output_Y>hiddenBumpsThreshold)||(output_Z>hiddenBumpsThreshold)){
	////			send_hidden_bump_alarm();
	////		}
	////		/*********************************************************************************************************/
	////
	////		/******************************************************
	////		 * Se output_X supera la soglia delle vibrazioni
	////		 * incrementa il contatore di vibrazioni xShakesCount
	////		 ******************************************************/
	////		if(output_X>shakesThreshold){
	////			xShakesCount++;
	////		}
	////		/******************************************************/
	////		/******************************************************
	////		 * Se output_Y supera la soglia delle vibrazioni
	////		 * incrementa il contatore di vibrazioni yShakesCount
	////		 ******************************************************/
	////		if(output_Y>shakesThreshold){
	////			yShakesCount++;
	////		}
	////		/******************************************************/
	////		/******************************************************
	////		 * Se output_Z supera la soglia delle vibrazioni
	////		 * incrementa il contatore di vibrazioni zShakesCount
	////		 ******************************************************/
	////		if(output_Z>shakesThreshold){
	////			zShakesCount++;
	////		}
	////		/******************************************************/
	//
	//
	//		avgOutput_X_last = avgOutput_X;
	//		avgOutput_Y_last = avgOutput_Y;
	//		avgOutput_Z_last = avgOutput_Z;
	//
	//		/**************************************
	//		 * Calcolo valori medi su X, Y e Z
	//		 **************************************/
	//		avgOutput_X = avgOutput_X + output_X - avgOutput_X_last;
	//		avgOutput_Y = avgOutput_Y + output_Y - avgOutput_Y_last;
	//		avgOutput_Z = avgOutput_Z + output_Z - avgOutput_Z_last;
	//
	//
	//
	////		if(current_index_aqsample == 0){
	////			avgOutput_X = avgOutput_X/SAMPLES;
	////			avgOutput_Y = avgOutput_Y/SAMPLES;
	////			avgOutput_Z = avgOutput_Z/SAMPLES;
	////		}
	//		/****************************************/
	//
	//
	//		/*******************************************************
	//		 * Trasmette al SERIAL PLOTTER solo i tre segnali filtrati
	//		 *******************************************************/
	//		/*******************************************************/
	//
	//
	//
	//		current_index_aqsample = (current_index_aqsample + 1) % SAMPLES;
	//
	//
	//
	//		//**********************************************************************************//
	//
	//
	//		HAL_GPIO_TogglePin(LEDB_GPIO_Port, LEDB_Pin);
	//
	//	}
	/* USER CODE END Callback 0 */
}

void HAL_UART_RxCpltCallback(UART_HandleTypeDef *huart)
{
	if(huart == &huart1)
	{

		/*****************************************************************************************/

		UART1_rxBuffer[rxbuffer_index] = UART1_rx;
		//		rxbuffer_index = (rxbuffer_index + 1) % MAX_BUFFER_LENGHT;
		rxbuffer_index = (rxbuffer_index + 1);

		// se è arrivato tutto il pacchetto entra nell'if
		if(UART1_rx == ETX_TAG)
		{

			int size_of_packet = sizeof(protocollo_uart);
			if(rxbuffer_index >= size_of_packet)
			{

				protocollo_uart dummy;
				memcpy(&dummy,UART1_rxBuffer,size_of_packet);

				if((dummy.stx == STX_TAG)&&(dummy.etx == ETX_TAG))
				{

					switch(dummy.cmd)
					{

					case 	shake_monitor_cmd:

						shakesCount = xShakesCount;
						if(yShakesCount > shakesCount) shakesCount = yShakesCount;
						if(zShakesCount > shakesCount) shakesCount = zShakesCount;

						send_shakes_count(shakesCount,xShakesCount,yShakesCount,zShakesCount);

						xShakesCount = 0;
						yShakesCount = 0;
						zShakesCount = 0;
						break;

					case 	reboot_cmd:
						break;

					case 	setConfiguration_cmd:
						receive_config(dummy);
						break;

					case 	saveConfiguration_cmd:
						receive_config(dummy);
						break;

					case 	getConfiguration_cmd:
						send_config();
						break;

					case 	getRawData_cmd:
						send_raw_data();
						break;

						//					case get_fw_version_cmd:
						//						send_fw_version();
						//						break;

						//case    alarm_disabled_cmd:
						//	send_alarm_disabled();
						//	break;

					default:
						send_nack();
						break;

					}

				}

			}

			/**************************************************************
			 * azzera il buffer UART1_rxBuffer e l'indice rxbuffer_index
			 **************************************************************/
			memset(UART1_rxBuffer,0,sizeof(UART1_rxBuffer));
			rxbuffer_index = 0;
			/**************************************************************/

		}

		//uint8_t pippo = UART1_rx;
		//HAL_UART_Transmit(&huart1, &pippo, 1, 100);

		/********************************************
		 * attiva l'UART in interrupt mode
		 ********************************************/
		HAL_UART_Receive_IT(&huart1,&UART1_rx, 1);
		/********************************************/

		/*****************************************************************************************/

	}

}

/************************************************************************************************
 * Invia i parametri di configurazione all'interfaccia SW
 ************************************************************************************************/

void send_config(){

	protocollo_uart send_pkt = {0};
	send_pkt.stx = STX_TAG;
	send_pkt.cmd = getConfiguration_cmd;

	send_pkt.pay.bumpsThreshold = bumpsThreshold;
	send_pkt.pay.shakesThreshold = shakesThreshold;
	send_pkt.pay.shakesSamplingTime = shakesSamplingTime;
	send_pkt.pay.shakesCount = shakesCount;
	send_pkt.pay.xShakesCount = xShakesCount;
	send_pkt.pay.yShakesCount = yShakesCount;
	send_pkt.pay.zShakesCount = zShakesCount;
	send_pkt.pay.output_X = output_X;
	send_pkt.pay.output_Y = output_Y;
	send_pkt.pay.output_Z = output_Z;
	send_pkt.pay.hiddenBumpsThreshold = hiddenBumpsThreshold;

	send_pkt.crc = crc_16((unsigned char *)&send_pkt.pay,sizeof(send_pkt.pay));
	send_pkt.etx = ETX_TAG;

	int size_of_packet = sizeof(protocollo_uart);
	memset(UART1_txBuffer,0,MAX_BUFFER_LENGHT);
	memcpy(UART1_txBuffer,(uint8_t*)&send_pkt,size_of_packet);
	//HAL_UART_Transmit_IT(&huart1, UART1_txBuffer, size_of_packet);
	HAL_UART_Transmit(&huart1, UART1_txBuffer, size_of_packet, 100);
}
/************************************************************************************************/

/************************************************
 * Riceve i parametri di configurazione
 * dall'interfaccia SW
 ************************************************/
void receive_config(protocollo_uart pkt){

	bumpsThreshold = pkt.pay.bumpsThreshold;
	shakesThreshold = pkt.pay.shakesThreshold;
	shakesSamplingTime = pkt.pay.shakesSamplingTime;
	hiddenBumpsThreshold = pkt.pay.hiddenBumpsThreshold;
	//shakesCount = pkt.payload[3];

}
/************************************************/
/************************************************************************************************
 * Invia all'interfaccia SW il comando di allarme per urto
 ************************************************************************************************/
//void send_bump_alarm(uint8_t output_X,uint8_t output_Y,uint8_t output_Z){
void send_bump_alarm(){

	protocollo_uart send_pkt = {0};
	send_pkt.stx = STX_TAG;
	send_pkt.cmd = bump_event_cmd;

	send_pkt.pay.bumpsThreshold = bumpsThreshold;
	send_pkt.pay.shakesThreshold = shakesThreshold;
	send_pkt.pay.shakesSamplingTime = shakesSamplingTime;
	send_pkt.pay.shakesCount = shakesCount;
	send_pkt.pay.xShakesCount = xShakesCount;
	send_pkt.pay.yShakesCount = yShakesCount;
	send_pkt.pay.zShakesCount = zShakesCount;
	send_pkt.pay.output_X = output_X_bump;
	send_pkt.pay.output_Y = output_Y_bump;
	send_pkt.pay.output_Z = output_Z_bump;
	send_pkt.pay.hiddenBumpsThreshold = hiddenBumpsThreshold;

	send_pkt.crc = crc_16((unsigned char *)&send_pkt.pay,sizeof(send_pkt.pay));
	send_pkt.etx = ETX_TAG;

	int size_of_packet = sizeof(protocollo_uart);
	memset(UART1_txBuffer,0,MAX_BUFFER_LENGHT);
	memcpy(UART1_txBuffer,(uint8_t*)&send_pkt,size_of_packet);
	//HAL_UART_Transmit_IT(&huart1, UART1_txBuffer, size_of_packet);
	HAL_UART_Transmit(&huart1, UART1_txBuffer, size_of_packet, 100);
}
/************************************************************************************************/

/************************************************************************************************
 * Invia all'interfaccia SW il comando di allarme per urto
 ************************************************************************************************/
//void send_bump_alarm(uint8_t output_X,uint8_t output_Y,uint8_t output_Z){
void send_hidden_bump_alarm(){

	protocollo_uart send_pkt = {0};
	send_pkt.stx = STX_TAG;
	send_pkt.cmd = hidden_bump_event_cmd;

	send_pkt.pay.bumpsThreshold = bumpsThreshold;
	send_pkt.pay.shakesThreshold = shakesThreshold;
	send_pkt.pay.shakesSamplingTime = shakesSamplingTime;
	send_pkt.pay.shakesCount = shakesCount;
	send_pkt.pay.xShakesCount = xShakesCount;
	send_pkt.pay.yShakesCount = yShakesCount;
	send_pkt.pay.zShakesCount = zShakesCount;
	send_pkt.pay.output_X = output_X_bump;
	send_pkt.pay.output_Y = output_Y_bump;
	send_pkt.pay.output_Z = output_Z_bump;
	send_pkt.pay.hiddenBumpsThreshold = hiddenBumpsThreshold;

	send_pkt.crc = crc_16((unsigned char *)&send_pkt.pay,sizeof(send_pkt.pay));
	send_pkt.etx = ETX_TAG;

	int size_of_packet = sizeof(protocollo_uart);
	memset(UART1_txBuffer,0,MAX_BUFFER_LENGHT);
	memcpy(UART1_txBuffer,(uint8_t*)&send_pkt,size_of_packet);
	//HAL_UART_Transmit_IT(&huart1, UART1_txBuffer, size_of_packet);
	HAL_UART_Transmit(&huart1, UART1_txBuffer, size_of_packet, 100);
}
/************************************************************************************************/

/************************************************************************************************
 * Invia all'interfaccia SW il comando di allarme per vibrazioni
 ************************************************************************************************/
void send_shakes_count(uint16_t shakesCount, uint16_t XshakesCount, uint16_t YshakesCount, uint16_t ZshakesCount){

	protocollo_uart send_pkt = {0};
	send_pkt.stx = STX_TAG;
	send_pkt.cmd = shake_event_cmd;

	send_pkt.pay.bumpsThreshold = bumpsThreshold;
	send_pkt.pay.shakesThreshold = shakesThreshold;
	send_pkt.pay.shakesSamplingTime = shakesSamplingTime;
	send_pkt.pay.shakesCount = shakesCount;
	send_pkt.pay.xShakesCount = xShakesCount;
	send_pkt.pay.yShakesCount = yShakesCount;
	send_pkt.pay.zShakesCount = zShakesCount;
	send_pkt.pay.output_X = output_X; //avgOutput_X; //output_X;
	send_pkt.pay.output_Y = output_Y; //avgOutput_Y;//output_Y;
	send_pkt.pay.output_Z = output_Z; //avgOutput_Z; //output_Z;
	send_pkt.pay.hiddenBumpsThreshold = hiddenBumpsThreshold;

	send_pkt.crc = crc_16((unsigned char *)&send_pkt.pay,sizeof(send_pkt.pay));

	send_pkt.etx = ETX_TAG;

	int size_of_packet = sizeof(protocollo_uart);
	memset(UART1_txBuffer,0,MAX_BUFFER_LENGHT);
	memcpy(UART1_txBuffer,(uint8_t*)&send_pkt,size_of_packet);
	//HAL_UART_Transmit_IT(&huart1, UART1_txBuffer, size_of_packet);
	HAL_UART_Transmit(&huart1, UART1_txBuffer, size_of_packet, 100);

	/***************************************************************
	 * Riazzera i valori medi calcolati per gli assi X, Y e Z
	 ***************************************************************/
	avgOutput_X = 0;
	avgOutput_Y = 0;
	avgOutput_Z = 0;
	/***************************************************************/

}
/************************************************************************************************/

/************************************************************************************************
 * Invia all'interfaccia SW i dati grezzi
 ************************************************************************************************/
void send_raw_data(){

	protocollo_uart send_pkt = {0};
	send_pkt.stx = STX_TAG;
	send_pkt.cmd = getRawData_cmd;

	//*************************************//

	if(output_X < 0)
		output_X = output_X * -1;
	if(output_Y < 0)
		output_Y = output_Y * -1;
	if(output_Z < 0)
		output_Z = output_Z * -1;

	//***************************************//

	send_pkt.pay.bumpsThreshold = bumpsThreshold;
	send_pkt.pay.shakesThreshold = shakesThreshold;
	send_pkt.pay.shakesSamplingTime = shakesSamplingTime;
	send_pkt.pay.shakesCount = shakesCount;
	send_pkt.pay.xShakesCount = xShakesCount;
	send_pkt.pay.yShakesCount = yShakesCount;
	send_pkt.pay.zShakesCount = zShakesCount;
	send_pkt.pay.output_X = output_X;
	send_pkt.pay.output_Y = output_Y;
	send_pkt.pay.output_Z = output_Z;
	send_pkt.pay.hiddenBumpsThreshold = hiddenBumpsThreshold;

	send_pkt.crc = crc_16((unsigned char *)&send_pkt.pay,sizeof(send_pkt.pay));

	send_pkt.etx = ETX_TAG;

	int size_of_packet = sizeof(protocollo_uart);
	memset(UART1_txBuffer,0,MAX_BUFFER_LENGHT);
	memcpy(UART1_txBuffer,(uint8_t*)&send_pkt,size_of_packet);
	//HAL_UART_Transmit_IT(&huart1, UART1_txBuffer, size_of_packet);
	HAL_UART_Transmit(&huart1, UART1_txBuffer, size_of_packet, 100);
}
/************************************************************************************************/

/************************************************************************************************
 * Invia all'interfaccia la versione del firmware
 ************************************************************************************************/
//void send_fw_version(){
//
//	protocollo_uart send_pkt = {0};
//	send_pkt.stx = STX_TAG;
//	send_pkt.cmd = get_fw_version_cmd;
//
//	send_pkt.pay.bumpsThreshold = bumpsThreshold;
//	send_pkt.pay.shakesThreshold = shakesThreshold;
//	send_pkt.pay.shakesSamplingTime = shakesSamplingTime;
//	send_pkt.pay.shakesCount = shakesCount;
//	send_pkt.pay.xShakesCount = xShakesCount;
//	send_pkt.pay.yShakesCount = yShakesCount;
//	send_pkt.pay.zShakesCount = zShakesCount;
//	send_pkt.pay.output_X = output_X;
//	send_pkt.pay.output_Y = output_Y;
//	send_pkt.pay.output_Z = output_Z;
//	send_pkt.pay.hiddenBumpsThreshold = hiddenBumpsThreshold;
//	//strncpy(send_pkt.pay.fw_version,FW_VERSION,strlen(send_pkt.pay.fw_version));
//
//	send_pkt.crc = crc_16((unsigned char *)&send_pkt.pay,sizeof(send_pkt.pay));
//
//	send_pkt.etx = ETX_TAG;
//
//	int size_of_packet = sizeof(protocollo_uart);
//	memset(UART1_txBuffer,0,MAX_BUFFER_LENGHT);
//	memcpy(UART1_txBuffer,(uint8_t*)&send_pkt,size_of_packet);
//	//HAL_UART_Transmit_IT(&huart1, UART1_txBuffer, size_of_packet);
//	HAL_UART_Transmit(&huart1, UART1_txBuffer, size_of_packet, 100);
//}
/************************************************************************************************/

/************************************************************************************************
 * Invia all'interfaccia SW il comando di allarme disattivato
 ************************************************************************************************/
//void send_alarm_disabled(){
//
//}
/************************************************************************************************/

void send_nack(){

}

/************************************************************************************
 * inizializzazione crc16
 ************************************************************************************/
static void init_crc16_tab( void ) {

	uint16_t i;
	uint16_t j;
	uint16_t crc;
	uint16_t c;

	for (i=0; i<256; i++) {

		crc = 0;
		c   = i;

		for (j=0; j<8; j++) {

			if ( (crc ^ c) & 0x0001 ) crc = ( crc >> 1 ) ^ CRC_POLY_16;
			else                      crc =   crc >> 1;

			c = c >> 1;
		}

		crc_tab16[i] = crc;
	}

	crc_tab16_init = true;

}  /* init_crc16_tab */
/************************************************************************************/

/*********************************************************************************
 * Calcolo crc 16
 *********************************************************************************/
uint16_t crc_16( const unsigned char *input_str, size_t num_bytes ) {

	uint16_t crc;
	const unsigned char *ptr;
	size_t a;

	if ( ! crc_tab16_init ) init_crc16_tab();

	crc = CRC_START_16;
	ptr = input_str;

	if ( ptr != NULL ) for (a=0; a<num_bytes; a++) {

		crc = (crc >> 8) ^ crc_tab16[ (crc ^ (uint16_t) *ptr++) & 0x00FF ];
	}

	return crc;

}  /* crc_16 */
/*********************************************************************************/

void send_sample()
{

}

void send_fft_sample()
{

}
/* USER CODE END 4 */

void Error_Handler(void)
{
	__disable_irq();
	while (1)
	{
	}
}
